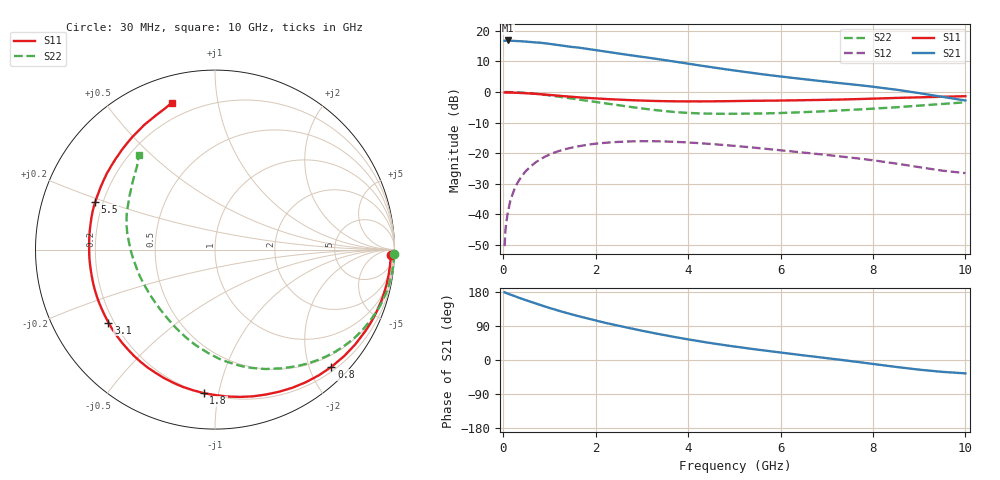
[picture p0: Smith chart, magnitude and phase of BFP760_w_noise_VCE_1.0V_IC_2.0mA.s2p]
! Infineon Technologies  Discrete & RF Semiconductors
! BFP760
! VCE =  1.0 V,  IC =  2.0 mA
! Common Emitter S-Parameters:  Nov 2012
# GHz  S  MA  R  50
!  f  S11  S21  S12  S22
! GHz  MAG  ANG  MAG  ANG  MAG  ANG  MAG  ANG
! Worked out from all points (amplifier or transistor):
!   99 points, 30 MHz to 10 GHz, reference 50 ohm
!   highest |S21| = 16.9 dB at 100 MHz (marker M1)
!   |S21| within 3 dB of that: start of sweep to 1.93 GHz
!   unconditionally stable (mu >= 1): 7.246 GHz to end of sweep
!   at 350 MHz: K = 0.04, MSG = 22.7 dB, |S12| = -28.7 dB
!   at 3.5 GHz: K = 0.32, MSG = 13.3 dB, |S12| = -16.2 dB
!   at 10 GHz: K = 1.79, MAG = 6.7 dB, |S12| = -26.6 dB
!   lowest NFmin = 0.46 dB at 900 MHz
!   S11 on the Smith chart (normalised r, x): 30 MHz: 28, -47; 800 MHz: 0.28, -2.37; 1.8 GHz: 0.20, -0.90; 3.1 GHz: 0.18, -0.30; 5.5 GHz: 0.17, +0.19; 10 GHz: 0.12, +0.74
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0.03  0.9811 -1.8  6.874 178.7  0.003 87.1  0.9997 -1.4
0.05  0.9799 -2.9  6.942 177.3  0.0057 85.9  0.9983 -2.1
0.1  0.979 -5.8  6.97 175.1  0.0109 87.9  0.9977 -4.2
0.25  0.9727 -14.4  6.856 168.4  0.0266 80.4  0.9898 -10.5
0.45  0.9581 -25.6  6.701 159.5  0.0467 72.4  0.9721 -18.7
0.8  0.9207 -45.2  6.401 145.2  0.0789 59.2  0.9184 -32.6
1  0.8954 -55.7  6.138 137.4  0.0946 52.1  0.8796 -40.2
1.2  0.8684 -65.8  5.848 130.0  0.1078 45.4  0.8385 -47.4
1.6  0.8211 -85.4  5.358 116.6  0.1282 33.5  0.7591 -60.6
1.7  0.8101 -90.1  5.231 113.4  0.1321 30.8  0.7394 -63.8
1.8  0.8024 -94.5  5.098 110.4  0.136 28.1  0.7223 -67.1
2.1  0.7773 -107.6  4.725 101.2  0.1452 20.3  0.6699 -76.4
2.4  0.7567 -119.6  4.37 93.0  0.1511 13.2  0.6221 -85.2
2.7  0.7384 -131.0  4.047 85.0  0.1549 6.7  0.5779 -93.7
3.1  0.7195 -145.6  3.68 74.9  0.1565 -1.4  0.5271 -105.3
3.4  0.7101 -155.6  3.404 67.7  0.1555 -7.1  0.4959 -113.8
4.1  0.7014 -175.7  2.835 52.4  0.1477 -18.9  0.4514 -132.9
5.1  0.7124 164.1  2.199 34.0  0.1292 -31.7  0.4409 -154.4
5.5  0.7182 158.3  2 27.4  0.1212 -35.8  0.4446 -161.5
6.7  0.7385 143.7  1.56 9.4  0.0984 -44.4  0.4749 177.8
8.5  0.7991 119.5  1.092 -18.3  0.0675 -51.6  0.5619 148.0
10  0.8531 106.4  0.726 -35.3  0.047 -41.2  0.6775 128.8
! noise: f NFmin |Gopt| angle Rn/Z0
0.9  0.46  0.62  27  0.22
1.8  0.6  0.52  57  0.18
2.4  0.73  0.48  77  0.16
3.5  0.93  0.42  109  0.14
5.5  1.34  0.44  -164  0.08
8  2.21  0.57  -108  0.43
